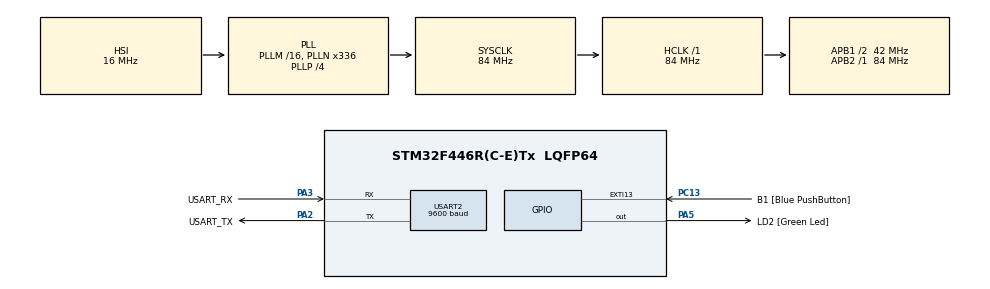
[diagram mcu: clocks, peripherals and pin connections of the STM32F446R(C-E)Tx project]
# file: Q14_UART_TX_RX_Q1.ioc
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Mcu.Family=STM32F4
Mcu.Name=STM32F446R(C-E)Tx
Mcu.Package=LQFP64
NVIC.PriorityGroup=NVIC_PRIORITYGROUP_0
NVIC.USART2_IRQn=true\:0\:0\:false\:false\:true\:true\:true\:true
PA13.GPIO_Label=TMS
PA13.Mode=Serial_Wire
PA13.Signal=SYS_JTMS-SWDIO
PA14.GPIO_Label=TCK
PA14.Mode=Serial_Wire
PA14.Signal=SYS_JTCK-SWCLK
PA2.GPIO_Label=USART_TX
PA2.Mode=Asynchronous
PA2.Signal=USART2_TX
PA3.GPIO_Label=USART_RX
PA3.Mode=Asynchronous
PA3.Signal=USART2_RX
PA5.GPIO_Label=LD2 [Green Led]
PA5.Signal=GPIO_Output
PB3.GPIO_Label=SWO
PB3.Signal=SYS_JTDO-SWO
PC13.GPIO_Label=B1 [Blue PushButton]
PC13.GPIO_ModeDefaultEXTI=GPIO_MODE_IT_FALLING
PC13.Signal=GPXTI13
PC14-OSC32_IN.Mode=LSE-External-Oscillator
PC14-OSC32_IN.Signal=RCC_OSC32_IN
PC15-OSC32_OUT.Mode=LSE-External-Oscillator
PC15-OSC32_OUT.Signal=RCC_OSC32_OUT
PH0-OSC_IN.Mode=HSE-External-Oscillator
PH0-OSC_IN.Signal=RCC_OSC_IN
PH1-OSC_OUT.Mode=HSE-External-Oscillator
PH1-OSC_OUT.Signal=RCC_OSC_OUT
ProjectManager.HeapSize=0x200
ProjectManager.StackSize=0x400
ProjectManager.TargetToolchain=STM32CubeIDE
RCC.48MHZClocksFreq_Value=84000000
RCC.AHBFreq_Value=84000000
RCC.APB1CLKDivider=RCC_HCLK_DIV2
RCC.APB1Freq_Value=42000000
RCC.APB1TimFreq_Value=84000000
RCC.APB2Freq_Value=84000000
RCC.APB2TimFreq_Value=84000000
RCC.CortexFreq_Value=84000000
RCC.FLatency-AdvancedSettings=FLASH_LATENCY_2
RCC.HCLKFreq_Value=84000000
RCC.HSE_VALUE=8000000
RCC.HSI_VALUE=16000000
RCC.PLLN=336
RCC.PLLP=RCC_PLLP_DIV4
RCC.SYSCLKFreq_VALUE=84000000
RCC.SYSCLKSource=RCC_SYSCLKSOURCE_PLLCLK
RCC.USBFreq_Value=168000000
RCC.VCOOutputFreq_Value=336000000
USART2.BaudRate=9600
USART2.VirtualMode=VM_ASYNC
board=NUCLEO-F446RE

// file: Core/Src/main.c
/* USER CODE BEGIN Header */
/**
  ******************************************************************************
  * Write a program to send status of switch through usart-2 and display on terminal and receive data through serially if some data received match with some character then corresponding led changes its state.
  * PB12 -> LED1.....Reads Single Char serially if received char is 'F'then led change its state.
  * PB13 -> LED2.....Reads Single Char serially if received char is 'S'then led change its state.
  * PB14 -> SWITCH....reads the status of switch serially and transmit the status on terminal.
  *
  *
  *
  ******************************************************************************
  */
/* USER CODE END Header */
#include "main.h"

UART_HandleTypeDef huart2;

void SystemClock_Config(void);
static void MX_GPIO_Init(void);
static void MX_USART2_UART_Init(void);

/* USER CODE BEGIN 0 */

uint8_t RX_char =0x00;
/* USER CODE END 0 */

int main(void)
{
  /* USER CODE BEGIN 1 */
uint8_t MSG1[] ="Button State :Realsed \r\n";
uint8_t MSG2[] ="Button State :Pressed \r\n";
  /* USER CODE END 1 */

  /* MCU Configuration--------------------------------------------------------*/

  /* Reset of all peripherals, Initializes the Flash interface and the Systick. */
  HAL_Init();

  /* Configure the system clock */
  SystemClock_Config();

  /* Initialize all configured peripherals */
  MX_GPIO_Init();
  MX_USART2_UART_Init();
  /* USER CODE BEGIN 2 */
HAL_UART_Receive_IT(&huart2, &RX_char, 1);

  /* USER CODE END 2 */

  /* Infinite loop */
  /* USER CODE BEGIN WHILE */
  while (1)
  {
	  // Read the status of the Button and send it through UART
    if(HAL_GPIO_ReadPin(GPIOC, GPIO_PIN_13)==1)
    {
    	HAL_UART_Transmit(&huart2, MSG1, sizeof(MSG1), 1000);

    }
    else
    {
    	HAL_UART_Transmit(&huart2, MSG2, sizeof(MSG2), 1000);

    }

    // Read the received character
    if(RX_char == 'F' || RX_char == 'f')
    {
    	HAL_GPIO_WritePin(GPIOA, GPIO_PIN_5, 0);
    	HAL_UART_Receive_IT(&huart2, &RX_char, 1);
    	RX_char =0x00;
    }
    if(RX_char == 'O' || RX_char == 'o')
    {
    	HAL_GPIO_WritePin(GPIOA, GPIO_PIN_5, 1);
    	HAL_UART_Receive_IT(&huart2, &RX_char, 1);
    	RX_char =0x00;

    }

    /* USER CODE END WHILE */

  }
}
void HAL_UART_RxCpltCallback(UART_HandleTypeDef *huart){

	HAL_UART_Receive_IT(&huart2, &RX_char, 1);
}

void SystemClock_Config(void)
{
  RCC_OscInitTypeDef RCC_OscInitStruct = {0};
  RCC_ClkInitTypeDef RCC_ClkInitStruct = {0};

  /** Configure the main internal regulator output voltage
  */
  __HAL_RCC_PWR_CLK_ENABLE();
  __HAL_PWR_VOLTAGESCALING_CONFIG(PWR_REGULATOR_VOLTAGE_SCALE3);

  /** Initializes the RCC Oscillators according to the specified parameters
  * in the RCC_OscInitTypeDef structure.
  */
  RCC_OscInitStruct.OscillatorType = RCC_OSCILLATORTYPE_HSI;
  RCC_OscInitStruct.HSIState = RCC_HSI_ON;
  RCC_OscInitStruct.HSICalibrationValue = RCC_HSICALIBRATION_DEFAULT;
  RCC_OscInitStruct.PLL.PLLState = RCC_PLL_ON;
  RCC_OscInitStruct.PLL.PLLSource = RCC_PLLSOURCE_HSI;
  RCC_OscInitStruct.PLL.PLLM = 16;
  RCC_OscInitStruct.PLL.PLLN = 336;
  RCC_OscInitStruct.PLL.PLLP = RCC_PLLP_DIV4;
  RCC_OscInitStruct.PLL.PLLQ = 2;
  RCC_OscInitStruct.PLL.PLLR = 2;
  if (HAL_RCC_OscConfig(&RCC_OscInitStruct) != HAL_OK)
  {
    Error_Handler();
  }

  /** Initializes the CPU, AHB and APB buses clocks
  */
  RCC_ClkInitStruct.ClockType = RCC_CLOCKTYPE_HCLK|RCC_CLOCKTYPE_SYSCLK
                              |RCC_CLOCKTYPE_PCLK1|RCC_CLOCKTYPE_PCLK2;
  RCC_ClkInitStruct.SYSCLKSource = RCC_SYSCLKSOURCE_PLLCLK;
  RCC_ClkInitStruct.AHBCLKDivider = RCC_SYSCLK_DIV1;
  RCC_ClkInitStruct.APB1CLKDivider = RCC_HCLK_DIV2;
  RCC_ClkInitStruct.APB2CLKDivider = RCC_HCLK_DIV1;

  if (HAL_RCC_ClockConfig(&RCC_ClkInitStruct, FLASH_LATENCY_2) != HAL_OK)
  {
    Error_Handler();
  }
}

static void MX_USART2_UART_Init(void)
{

  huart2.Instance = USART2;
  huart2.Init.BaudRate = 9600;
  huart2.Init.WordLength = UART_WORDLENGTH_8B;
  huart2.Init.StopBits = UART_STOPBITS_1;
  huart2.Init.Parity = UART_PARITY_NONE;
  huart2.Init.Mode = UART_MODE_TX_RX;
  huart2.Init.HwFlowCtl = UART_HWCONTROL_NONE;
  huart2.Init.OverSampling = UART_OVERSAMPLING_16;
  if (HAL_UART_Init(&huart2) != HAL_OK)
  {
    Error_Handler();
  }

}

static void MX_GPIO_Init(void)
{
  GPIO_InitTypeDef GPIO_InitStruct = {0};

  /* GPIO Ports Clock Enable */
  __HAL_RCC_GPIOC_CLK_ENABLE();
  __HAL_RCC_GPIOH_CLK_ENABLE();
  __HAL_RCC_GPIOA_CLK_ENABLE();
  __HAL_RCC_GPIOB_CLK_ENABLE();

  /*Configure GPIO pin Output Level */
  HAL_GPIO_WritePin(LD2_GPIO_Port, LD2_Pin, GPIO_PIN_RESET);

  /*Configure GPIO pin : B1_Pin */
  GPIO_InitStruct.Pin = B1_Pin;
  GPIO_InitStruct.Mode = GPIO_MODE_IT_FALLING;
  GPIO_InitStruct.Pull = GPIO_NOPULL;
  HAL_GPIO_Init(B1_GPIO_Port, &GPIO_InitStruct);

  /*Configure GPIO pin : LD2_Pin */
  GPIO_InitStruct.Pin = LD2_Pin;
  GPIO_InitStruct.Mode = GPIO_MODE_OUTPUT_PP;
  GPIO_InitStruct.Pull = GPIO_NOPULL;
  GPIO_InitStruct.Speed = GPIO_SPEED_FREQ_LOW;
  HAL_GPIO_Init(LD2_GPIO_Port, &GPIO_InitStruct);

}

void Error_Handler(void)
{
  __disable_irq();
  while (1)
  {
  }
}
